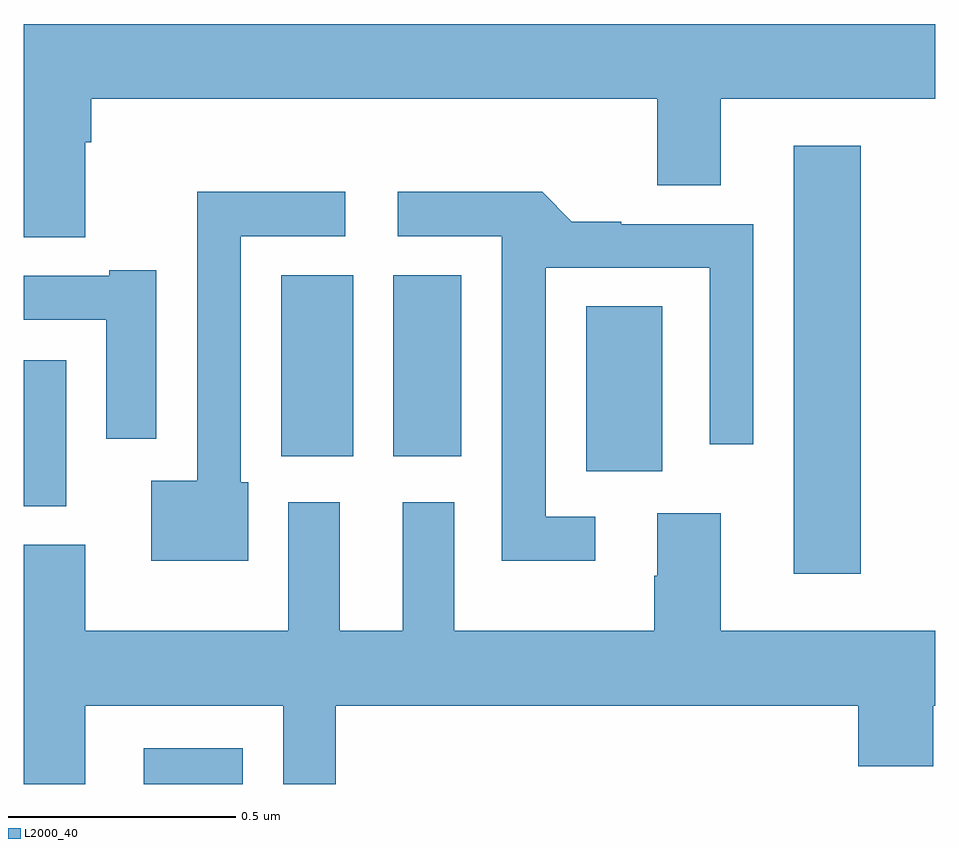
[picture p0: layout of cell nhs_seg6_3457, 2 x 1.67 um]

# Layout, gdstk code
import gdstk
lib = gdstk.Library(unit=1e-6, precision=1e-09)
def R(c, l, rs):  # rectangles x0, y0, x1, y1
    for r in rs: c.add(gdstk.rectangle(r[:2], r[2:], *l))
def P(c, l, *ps):  # polygons
    for p in ps: c.add(gdstk.Polygon(p, *l))
L2000_40 = (2000, 40)

nhs_seg6_3457 = lib.new_cell('nhs_seg6_3457')
R(nhs_seg6_3457, L2000_40, [(157.263,944.5,157.48,944.578), (158.69,944.961,158.837,945.901), (157,945.11,157.093,945.43), (158.234,945.186,158.401,945.548), (157.565,945.219,157.723,945.617), (157.811,945.219,157.96,945.617)])
P(nhs_seg6_3457, L2000_40, [(157.135,945.908),(157.148,945.908),(157.148,946.004),(158.39,946.004),(158.39,945.814),(158.53,945.814),(158.53,946.004),(159,946.004),(159,946.168),(157,946.168),(157,945.7),(157.135,945.7)],
  [(157.492,945.162),(157.476,945.162),(157.476,945.702),(157.705,945.702),(157.705,945.8),(157.38,945.8),(157.38,945.166),(157.28,945.166),(157.28,944.99),(157.492,944.99)],
  [(158.254,945.087),(158.145,945.087),(158.145,945.633),(158.505,945.633),(158.505,945.246),(158.601,945.246),(158.601,945.729),(158.311,945.729),(158.311,945.734),(158.203,945.734),(158.138,945.8),(157.821,945.8),(157.821,945.702),(158.049,945.702),(158.049,944.99),(158.254,944.99)],
  [(157.291,945.628),(157.187,945.628),(157.187,945.615),(157,945.615),(157,945.519),(157.181,945.519),(157.181,945.258),(157.291,945.258)],
  [(157.135,944.672),(157.569,944.672),(157.569,944.5),(157.685,944.5),(157.685,944.672),(158.831,944.672),(158.831,944.539),(158.996,944.539),(158.996,944.672),(159,944.672),(159,944.836),(158.53,944.836),(158.53,945.094),(158.39,945.094),(158.39,944.957),(158.383,944.957),(158.383,944.836),(157.945,944.836),(157.945,945.118),(157.832,945.118),(157.832,944.836),(157.693,944.836),(157.693,945.118),(157.58,945.118),(157.58,944.836),(157.135,944.836),(157.135,945.025),(157,945.025),(157,944.5),(157.135,944.5)])

lib.write_gds('nhs_seg6_3457.gds')
